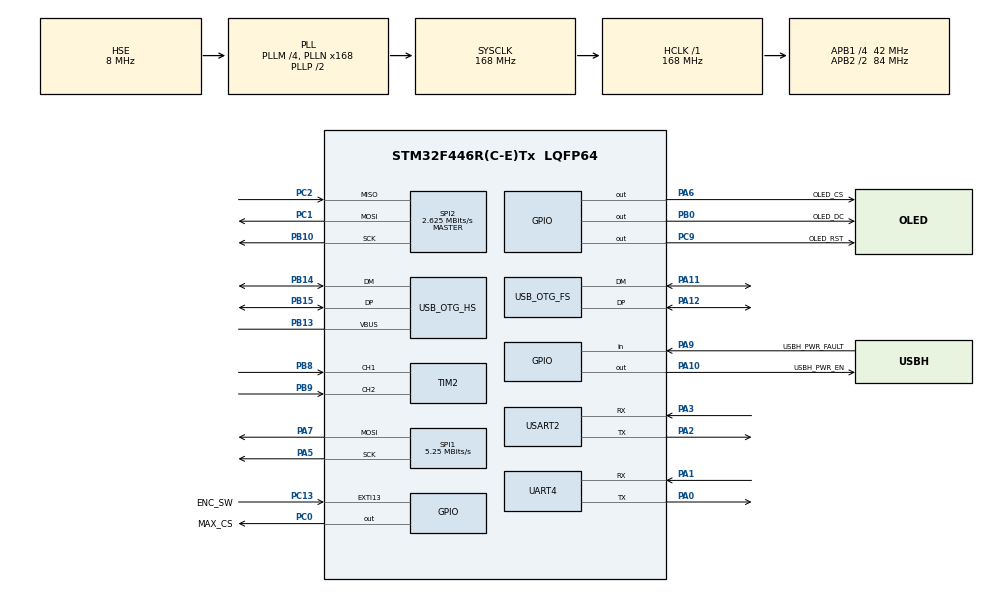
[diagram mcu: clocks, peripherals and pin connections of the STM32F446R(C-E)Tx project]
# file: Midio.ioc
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Mcu.Family=STM32F4
Dma.SPI2_TX.2.PeriphInc=DMA_PINC_DISABLE
NVIC.OTG_HS_IRQn=true\:5\:0\:false\:false\:true\:false\:false\:true
Dma.SPI2_TX.2.MemInc=DMA_MINC_ENABLE
Dma.SPI1_TX.0.MemInc=DMA_MINC_ENABLE
PH0-OSC_IN.Signal=RCC_OSC_IN
Dma.SPI1_TX.0.PeriphInc=DMA_PINC_DISABLE
Dma.SPI2_RX.1.MemDataAlignment=DMA_MDATAALIGN_BYTE
RCC.CortexFreq_Value=168000000
SPI1.VirtualType=VM_MASTER
SPI2.VirtualType=VM_MASTER
PB10.Mode=Full_Duplex_Master
PC0.GPIO_Label=MAX_CS
PA11.Mode=Host_Only
PA6.GPIO_Label=OLED_CS
PB0.GPIO_Label=OLED_DC
TIM2.EncoderMode=TIM_ENCODERMODE_TI12
PC13.GPIO_Label=ENC_SW
Dma.SPI2_RX.1.Mode=DMA_NORMAL
NVIC.DMA1_Stream4_IRQn=true\:5\:0\:false\:false\:true\:true\:false\:true
PB13.Signal=USB_OTG_HS_VBUS
PB15.Signal=USB_OTG_HS_DP
Dma.SPI2_RX.1.Direction=DMA_PERIPH_TO_MEMORY
RCC.SYSCLKSource=RCC_SYSCLKSOURCE_PLLCLK
ProjectManager.StackSize=0x400
Dma.SPI2_RX.1.PeriphDataAlignment=DMA_PDATAALIGN_BYTE
PA12.Signal=USB_OTG_FS_DP
SPI1.Direction=SPI_DIRECTION_2LINES
RCC.HCLKFreq_Value=168000000
RCC.APB2TimFreq_Value=168000000
USB_HOST.USBH_USE_OS-AUDIO_FS=0
Dma.SPI2_TX.2.PeriphDataAlignment=DMA_PDATAALIGN_BYTE
SPI1.CalculateBaudRate=5.25 MBits/s
FREERTOS.configUSE_MALLOC_FAILED_HOOK=1
Dma.SPI2_TX.2.Instance=DMA1_Stream4
RCC.AHBFreq_Value=168000000
SPI2.BaudRatePrescaler=SPI_BAUDRATEPRESCALER_16
PH0-OSC_IN.Mode=HSE-External-Oscillator
FREERTOS.configUSE_PREEMPTION=0
RCC.HSE_VALUE=8000000
USB_OTG_FS.phy_itface=HCD_PHY_EMBEDDED
PB3.Mode=Trace_Asynchronous_SW
Dma.SPI2_RX.1.FIFOMode=DMA_FIFOMODE_DISABLE
PA14.Mode=Trace_Asynchronous_SW
PB14.Mode=Device_Only_FS
PA10.GPIO_Label=USBH_PWR_EN
SPI2.CalculateBaudRate=2.625 MBits/s
VP_FREERTOS_VS_CMSIS_V1.Mode=CMSIS_V1
Dma.SPI2_TX.2.MemDataAlignment=DMA_MDATAALIGN_BYTE
PH1-OSC_OUT.Mode=HSE-External-Oscillator
Dma.SPI1_TX.0.Mode=DMA_NORMAL
Mcu.Package=LQFP64
PB9.Signal=S_TIM2_CH2
PA6.Signal=GPIO_Output
SPI2.Mode=SPI_MODE_MASTER
Dma.SPI2_TX.2.Priority=DMA_PRIORITY_LOW
USART2.VirtualMode=VM_ASYNC
NVIC.OTG_FS_IRQn=true\:5\:0\:false\:false\:true\:false\:false\:true
VP_USB_HOST_VS_USB_HOST_AUDIO_FS.Mode=AUDIO_FS
Dma.SPI2_TX.2.Mode=DMA_NORMAL
PA10.Signal=GPIO_Output
USB_OTG_FS.VirtualMode=Host_Only
USB_DEVICE.CLASS_NAME_HS=AUDIO
USB_DEVICE.VirtualMode-AUDIO_HS=Audio
Dma.SPI2_RX.1.Instance=DMA1_Stream3
USB_DEVICE.VirtualModeHS=Audio_HS
RCC.APB2CLKDivider=RCC_HCLK_DIV2
Dma.Request2=SPI2_TX
Dma.Request1=SPI2_RX
RCC.APB1TimFreq_Value=84000000
SPI2.Direction=SPI_DIRECTION_2LINES
PB13.Mode=Activate_VBUS_FS
Dma.Request0=SPI1_TX
SPI1.BaudRatePrescaler=SPI_BAUDRATEPRESCALER_16
PA3.Signal=USART2_RX
PA5.Mode=TX_Only_Simplex_Unidirect_Master
FREERTOS.Tasks01=defaultTask,0,128,StartDefaultTask,Default,NULL,Dynamic,NULL,NULL
PA7.Mode=TX_Only_Simplex_Unidirect_Master
PC9.GPIO_Label=OLED_RST
PC13.Signal=GPXTI13
PA9.GPIO_Label=USBH_PWR_FAULT
FREERTOS.INCLUDE_vTaskDelayUntil=1
FREERTOS.configCHECK_FOR_STACK_OVERFLOW=2
PC2.Signal=SPI2_MISO
PC2.Mode=Full_Duplex_Master
PC0.Signal=GPIO_Output
RCC.APB1CLKDivider=RCC_HCLK_DIV4
UART4.VirtualMode=Asynchronous
USB_OTG_HS.VirtualMode-Device_Only_FS=Device_Only_FS
PA0-WKUP.Signal=UART4_TX
PA0-WKUP.Mode=Asynchronous
PA13.Signal=SYS_JTMS-SWDIO
PA3.Mode=Asynchronous
SH.S_TIM2_CH2.0=TIM2_CH2,Encoder_Interface
Dma.SPI1_TX.0.FIFOMode=DMA_FIFOMODE_DISABLE
ProjectManager.TargetToolchain=Other Toolchains (GPDSC)
Dma.SPI2_TX.2.Direction=DMA_MEMORY_TO_PERIPH
Dma.SPI1_TX.0.PeriphDataAlignment=DMA_PDATAALIGN_BYTE
Dma.SPI1_TX.0.Direction=DMA_MEMORY_TO_PERIPH
Dma.SPI2_TX.2.FIFOMode=DMA_FIFOMODE_DISABLE
PA9.Signal=GPIO_Input
VP_USB_DEVICE_VS_USB_DEVICE_AUDIO_HS.Mode=AUDIO_HS
RCC.USBFreq_Value=48000000
NVIC.DMA2_Stream3_IRQn=true\:5\:0\:false\:false\:true\:true\:false\:true
PA1.Signal=UART4_RX
PB10.Signal=SPI2_SCK
PB14.Signal=USB_OTG_HS_DM
PA5.Signal=SPI1_SCK
board=custom
RCC.VCOOutputFreq_Value=336000000
USB_HOST.VirtualModeFS=Audio
PB15.Mode=Device_Only_FS
RCC.APB2Freq_Value=84000000
PA1.Mode=Asynchronous
Dma.SPI2_RX.1.Priority=DMA_PRIORITY_LOW
SPI1.Mode=SPI_MODE_MASTER
USB_HOST.USBH_HandleTypeDef-AUDIO_FS=hUsbHostFS
PH1-OSC_OUT.Signal=RCC_OSC_OUT
Dma.SPI1_TX.0.Instance=DMA2_Stream3
FREERTOS.configUSE_MUTEXES=0
PA13.Mode=Trace_Asynchronous_SW
Mcu.Name=STM32F446R(C-E)Tx
Dma.SPI2_RX.1.PeriphInc=DMA_PINC_DISABLE
USB_DEVICE.USBD_LPM_ENABLED-AUDIO_HS=0
PA2.Signal=USART2_TX
PB3.Signal=SYS_JTDO-SWO
RCC.SYSCLKFreq_VALUE=168000000
PA12.Mode=Host_Only
PA11.Signal=USB_OTG_FS_DM
SH.S_TIM2_CH1_ETR.0=TIM2_CH1,Encoder_Interface
PA14.Signal=SYS_JTCK-SWCLK
ProjectManager.HeapSize=0x200
Dma.SPI1_TX.0.MemDataAlignment=DMA_MDATAALIGN_BYTE
Dma.SPI1_TX.0.Priority=DMA_PRIORITY_LOW
RCC.PLLQ=7
NVIC.PriorityGroup=NVIC_PRIORITYGROUP_4
RCC.PLLM=4
RCC.PLLN=168
PA2.Mode=Asynchronous
PB8.Signal=S_TIM2_CH1_ETR
NVIC.DMA1_Stream3_IRQn=true\:5\:0\:false\:false\:true\:true\:false\:true
PC9.Signal=GPIO_Output
RCC.APB1Freq_Value=42000000
PB0.Signal=GPIO_Output
Dma.SPI2_RX.1.MemInc=DMA_MINC_ENABLE
PC1.Signal=SPI2_MOSI
PC1.Mode=Full_Duplex_Master
PA7.Signal=SPI1_MOSI

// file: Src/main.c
/* USER CODE BEGIN Header */
/**
  ******************************************************************************
  * @file           : main.c
  * @brief          : Main program body
  ******************************************************************************
  * @attention
  *
  * <h2><center>&copy; Copyright (c) 2021 STMicroelectronics.
  * All rights reserved.</center></h2>
  *
  * This software component is licensed by ST under BSD 3-Clause license,
  * the "License"; You may not use this file except in compliance with the
  * License. You may obtain a copy of the License at:
  *                        opensource.org/licenses/BSD-3-Clause
  *
  ******************************************************************************
  */
/* USER CODE END Header */
#include "main.h"
#include "cmsis_os.h"
#include "usb_device.h"
#include "usb_host.h"

/* USER CODE BEGIN Includes */

#include "errorhandlers.h"

/* USER CODE END Includes */

SPI_HandleTypeDef hspi1;
SPI_HandleTypeDef hspi2;
DMA_HandleTypeDef hdma_spi1_tx;
DMA_HandleTypeDef hdma_spi2_rx;
DMA_HandleTypeDef hdma_spi2_tx;

TIM_HandleTypeDef htim2;

UART_HandleTypeDef huart4;
UART_HandleTypeDef huart2;

osThreadId defaultTaskHandle;

void SystemClock_Config(void);
static void MX_GPIO_Init(void);
static void MX_DMA_Init(void);
static void MX_SPI1_Init(void);
static void MX_SPI2_Init(void);
static void MX_TIM2_Init(void);
static void MX_UART4_Init(void);
static void MX_USART2_UART_Init(void);
void StartDefaultTask(void const * argument);

/* USER CODE BEGIN PFP */

void setup(void);
void loop(void);

/* USER CODE END PFP */

int main(void)
{

  /* MCU Configuration--------------------------------------------------------*/

  /* Reset of all peripherals, Initializes the Flash interface and the Systick. */
  HAL_Init();

  /* Configure the system clock */
  SystemClock_Config();

  /* Initialize all configured peripherals */
  MX_GPIO_Init();
  MX_DMA_Init();
  MX_SPI1_Init();
  MX_SPI2_Init();
  MX_TIM2_Init();
  MX_UART4_Init();
  MX_USART2_UART_Init();

  /* Create the thread(s) */
  /* definition and creation of defaultTask */
  osThreadDef(defaultTask, StartDefaultTask, osPriorityNormal, 0, 128);
  defaultTaskHandle = osThreadCreate(osThread(defaultTask), NULL);

  /* Start scheduler */
  osKernelStart();

  /* We should never get here as control is now taken by the scheduler */
  /* Infinite loop */
  while (1)
  {

  }
}

void SystemClock_Config(void)
{
  RCC_OscInitTypeDef RCC_OscInitStruct = {0};
  RCC_ClkInitTypeDef RCC_ClkInitStruct = {0};
  RCC_PeriphCLKInitTypeDef PeriphClkInitStruct = {0};

  /** Configure the main internal regulator output voltage
  */
  __HAL_RCC_PWR_CLK_ENABLE();
  __HAL_PWR_VOLTAGESCALING_CONFIG(PWR_REGULATOR_VOLTAGE_SCALE1);
  /** Initializes the RCC Oscillators according to the specified parameters
  * in the RCC_OscInitTypeDef structure.
  */
  RCC_OscInitStruct.OscillatorType = RCC_OSCILLATORTYPE_HSE;
  RCC_OscInitStruct.HSEState = RCC_HSE_ON;
  RCC_OscInitStruct.PLL.PLLState = RCC_PLL_ON;
  RCC_OscInitStruct.PLL.PLLSource = RCC_PLLSOURCE_HSE;
  RCC_OscInitStruct.PLL.PLLM = 4;
  RCC_OscInitStruct.PLL.PLLN = 168;
  RCC_OscInitStruct.PLL.PLLP = RCC_PLLP_DIV2;
  RCC_OscInitStruct.PLL.PLLQ = 7;
  RCC_OscInitStruct.PLL.PLLR = 2;
  if (HAL_RCC_OscConfig(&RCC_OscInitStruct) != HAL_OK)
  {
    Error_Handler();
  }
  /** Initializes the CPU, AHB and APB buses clocks
  */
  RCC_ClkInitStruct.ClockType = RCC_CLOCKTYPE_HCLK|RCC_CLOCKTYPE_SYSCLK
                              |RCC_CLOCKTYPE_PCLK1|RCC_CLOCKTYPE_PCLK2;
  RCC_ClkInitStruct.SYSCLKSource = RCC_SYSCLKSOURCE_PLLCLK;
  RCC_ClkInitStruct.AHBCLKDivider = RCC_SYSCLK_DIV1;
  RCC_ClkInitStruct.APB1CLKDivider = RCC_HCLK_DIV4;
  RCC_ClkInitStruct.APB2CLKDivider = RCC_HCLK_DIV2;

  if (HAL_RCC_ClockConfig(&RCC_ClkInitStruct, FLASH_LATENCY_5) != HAL_OK)
  {
    Error_Handler();
  }
  PeriphClkInitStruct.PeriphClockSelection = RCC_PERIPHCLK_CLK48;
  PeriphClkInitStruct.Clk48ClockSelection = RCC_CLK48CLKSOURCE_PLLQ;
  if (HAL_RCCEx_PeriphCLKConfig(&PeriphClkInitStruct) != HAL_OK)
  {
    Error_Handler();
  }
}

static void MX_SPI1_Init(void)
{

  /* SPI1 parameter configuration*/
  hspi1.Instance = SPI1;
  hspi1.Init.Mode = SPI_MODE_MASTER;
  hspi1.Init.Direction = SPI_DIRECTION_2LINES;
  hspi1.Init.DataSize = SPI_DATASIZE_8BIT;
  hspi1.Init.CLKPolarity = SPI_POLARITY_LOW;
  hspi1.Init.CLKPhase = SPI_PHASE_1EDGE;
  hspi1.Init.NSS = SPI_NSS_SOFT;
  hspi1.Init.BaudRatePrescaler = SPI_BAUDRATEPRESCALER_16;
  hspi1.Init.FirstBit = SPI_FIRSTBIT_MSB;
  hspi1.Init.TIMode = SPI_TIMODE_DISABLE;
  hspi1.Init.CRCCalculation = SPI_CRCCALCULATION_DISABLE;
  hspi1.Init.CRCPolynomial = 10;
  if (HAL_SPI_Init(&hspi1) != HAL_OK)
  {
    Error_Handler();
  }

}

static void MX_SPI2_Init(void)
{

  /* SPI2 parameter configuration*/
  hspi2.Instance = SPI2;
  hspi2.Init.Mode = SPI_MODE_MASTER;
  hspi2.Init.Direction = SPI_DIRECTION_2LINES;
  hspi2.Init.DataSize = SPI_DATASIZE_8BIT;
  hspi2.Init.CLKPolarity = SPI_POLARITY_LOW;
  hspi2.Init.CLKPhase = SPI_PHASE_1EDGE;
  hspi2.Init.NSS = SPI_NSS_SOFT;
  hspi2.Init.BaudRatePrescaler = SPI_BAUDRATEPRESCALER_16;
  hspi2.Init.FirstBit = SPI_FIRSTBIT_MSB;
  hspi2.Init.TIMode = SPI_TIMODE_DISABLE;
  hspi2.Init.CRCCalculation = SPI_CRCCALCULATION_DISABLE;
  hspi2.Init.CRCPolynomial = 10;
  if (HAL_SPI_Init(&hspi2) != HAL_OK)
  {
    Error_Handler();
  }

}

static void MX_TIM2_Init(void)
{

  TIM_Encoder_InitTypeDef sConfig = {0};
  TIM_MasterConfigTypeDef sMasterConfig = {0};

  htim2.Instance = TIM2;
  htim2.Init.Prescaler = 0;
  htim2.Init.CounterMode = TIM_COUNTERMODE_UP;
  htim2.Init.Period = 4294967295;
  htim2.Init.ClockDivision = TIM_CLOCKDIVISION_DIV1;
  htim2.Init.AutoReloadPreload = TIM_AUTORELOAD_PRELOAD_DISABLE;
  sConfig.EncoderMode = TIM_ENCODERMODE_TI12;
  sConfig.IC1Polarity = TIM_ICPOLARITY_RISING;
  sConfig.IC1Selection = TIM_ICSELECTION_DIRECTTI;
  sConfig.IC1Prescaler = TIM_ICPSC_DIV1;
  sConfig.IC1Filter = 0;
  sConfig.IC2Polarity = TIM_ICPOLARITY_RISING;
  sConfig.IC2Selection = TIM_ICSELECTION_DIRECTTI;
  sConfig.IC2Prescaler = TIM_ICPSC_DIV1;
  sConfig.IC2Filter = 0;
  if (HAL_TIM_Encoder_Init(&htim2, &sConfig) != HAL_OK)
  {
    Error_Handler();
  }
  sMasterConfig.MasterOutputTrigger = TIM_TRGO_RESET;
  sMasterConfig.MasterSlaveMode = TIM_MASTERSLAVEMODE_DISABLE;
  if (HAL_TIMEx_MasterConfigSynchronization(&htim2, &sMasterConfig) != HAL_OK)
  {
    Error_Handler();
  }

}

static void MX_UART4_Init(void)
{

  huart4.Instance = UART4;
  huart4.Init.BaudRate = 115200;
  huart4.Init.WordLength = UART_WORDLENGTH_8B;
  huart4.Init.StopBits = UART_STOPBITS_1;
  huart4.Init.Parity = UART_PARITY_NONE;
  huart4.Init.Mode = UART_MODE_TX_RX;
  huart4.Init.HwFlowCtl = UART_HWCONTROL_NONE;
  huart4.Init.OverSampling = UART_OVERSAMPLING_16;
  if (HAL_UART_Init(&huart4) != HAL_OK)
  {
    Error_Handler();
  }

}

static void MX_USART2_UART_Init(void)
{

  huart2.Instance = USART2;
  huart2.Init.BaudRate = 115200;
  huart2.Init.WordLength = UART_WORDLENGTH_8B;
  huart2.Init.StopBits = UART_STOPBITS_1;
  huart2.Init.Parity = UART_PARITY_NONE;
  huart2.Init.Mode = UART_MODE_TX_RX;
  huart2.Init.HwFlowCtl = UART_HWCONTROL_NONE;
  huart2.Init.OverSampling = UART_OVERSAMPLING_16;
  if (HAL_UART_Init(&huart2) != HAL_OK)
  {
    Error_Handler();
  }

}

static void MX_DMA_Init(void)
{

  /* DMA controller clock enable */
  __HAL_RCC_DMA2_CLK_ENABLE();
  __HAL_RCC_DMA1_CLK_ENABLE();

  /* DMA interrupt init */
  /* DMA1_Stream3_IRQn interrupt configuration */
  HAL_NVIC_SetPriority(DMA1_Stream3_IRQn, 5, 0);
  HAL_NVIC_EnableIRQ(DMA1_Stream3_IRQn);
  /* DMA1_Stream4_IRQn interrupt configuration */
  HAL_NVIC_SetPriority(DMA1_Stream4_IRQn, 5, 0);
  HAL_NVIC_EnableIRQ(DMA1_Stream4_IRQn);
  /* DMA2_Stream3_IRQn interrupt configuration */
  HAL_NVIC_SetPriority(DMA2_Stream3_IRQn, 5, 0);
  HAL_NVIC_EnableIRQ(DMA2_Stream3_IRQn);

}

static void MX_GPIO_Init(void)
{
  GPIO_InitTypeDef GPIO_InitStruct = {0};

  /* GPIO Ports Clock Enable */
  __HAL_RCC_GPIOC_CLK_ENABLE();
  __HAL_RCC_GPIOH_CLK_ENABLE();
  __HAL_RCC_GPIOA_CLK_ENABLE();
  __HAL_RCC_GPIOB_CLK_ENABLE();
  __HAL_RCC_GPIOD_CLK_ENABLE();

  /*Configure GPIO pin Output Level */
  HAL_GPIO_WritePin(GPIOC, MAX_CS_Pin|OLED_RST_Pin, GPIO_PIN_RESET);

  /*Configure GPIO pin Output Level */
  HAL_GPIO_WritePin(GPIOA, OLED_CS_Pin|USBH_PWR_EN_Pin, GPIO_PIN_RESET);

  /*Configure GPIO pin Output Level */
  HAL_GPIO_WritePin(OLED_DC_GPIO_Port, OLED_DC_Pin, GPIO_PIN_RESET);

  /*Configure GPIO pin : ENC_SW_Pin */
  GPIO_InitStruct.Pin = ENC_SW_Pin;
  GPIO_InitStruct.Mode = GPIO_MODE_IT_RISING;
  GPIO_InitStruct.Pull = GPIO_NOPULL;
  HAL_GPIO_Init(ENC_SW_GPIO_Port, &GPIO_InitStruct);

  /*Configure GPIO pins : PC14 PC15 PC3 PC4
                           PC5 PC6 PC7 PC8
                           PC10 PC11 PC12 */
  GPIO_InitStruct.Pin = GPIO_PIN_14|GPIO_PIN_15|GPIO_PIN_3|GPIO_PIN_4
                          |GPIO_PIN_5|GPIO_PIN_6|GPIO_PIN_7|GPIO_PIN_8
                          |GPIO_PIN_10|GPIO_PIN_11|GPIO_PIN_12;
  GPIO_InitStruct.Mode = GPIO_MODE_ANALOG;
  GPIO_InitStruct.Pull = GPIO_NOPULL;
  HAL_GPIO_Init(GPIOC, &GPIO_InitStruct);

  /*Configure GPIO pins : MAX_CS_Pin OLED_RST_Pin */
  GPIO_InitStruct.Pin = MAX_CS_Pin|OLED_RST_Pin;
  GPIO_InitStruct.Mode = GPIO_MODE_OUTPUT_PP;
  GPIO_InitStruct.Pull = GPIO_NOPULL;
  GPIO_InitStruct.Speed = GPIO_SPEED_FREQ_LOW;
  HAL_GPIO_Init(GPIOC, &GPIO_InitStruct);

  /*Configure GPIO pins : PA4 PA8 PA15 */
  GPIO_InitStruct.Pin = GPIO_PIN_4|GPIO_PIN_8|GPIO_PIN_15;
  GPIO_InitStruct.Mode = GPIO_MODE_ANALOG;
  GPIO_InitStruct.Pull = GPIO_NOPULL;
  HAL_GPIO_Init(GPIOA, &GPIO_InitStruct);

  /*Configure GPIO pins : OLED_CS_Pin USBH_PWR_EN_Pin */
  GPIO_InitStruct.Pin = OLED_CS_Pin|USBH_PWR_EN_Pin;
  GPIO_InitStruct.Mode = GPIO_MODE_OUTPUT_PP;
  GPIO_InitStruct.Pull = GPIO_NOPULL;
  GPIO_InitStruct.Speed = GPIO_SPEED_FREQ_LOW;
  HAL_GPIO_Init(GPIOA, &GPIO_InitStruct);

  /*Configure GPIO pin : OLED_DC_Pin */
  GPIO_InitStruct.Pin = OLED_DC_Pin;
  GPIO_InitStruct.Mode = GPIO_MODE_OUTPUT_PP;
  GPIO_InitStruct.Pull = GPIO_NOPULL;
  GPIO_InitStruct.Speed = GPIO_SPEED_FREQ_LOW;
  HAL_GPIO_Init(OLED_DC_GPIO_Port, &GPIO_InitStruct);

  /*Configure GPIO pins : PB1 PB2 PB12 PB4
                           PB5 PB6 PB7 */
  GPIO_InitStruct.Pin = GPIO_PIN_1|GPIO_PIN_2|GPIO_PIN_12|GPIO_PIN_4
                          |GPIO_PIN_5|GPIO_PIN_6|GPIO_PIN_7;
  GPIO_InitStruct.Mode = GPIO_MODE_ANALOG;
  GPIO_InitStruct.Pull = GPIO_NOPULL;
  HAL_GPIO_Init(GPIOB, &GPIO_InitStruct);

  /*Configure GPIO pin : USBH_PWR_FAULT_Pin */
  GPIO_InitStruct.Pin = USBH_PWR_FAULT_Pin;
  GPIO_InitStruct.Mode = GPIO_MODE_INPUT;
  GPIO_InitStruct.Pull = GPIO_NOPULL;
  HAL_GPIO_Init(USBH_PWR_FAULT_GPIO_Port, &GPIO_InitStruct);

  /*Configure GPIO pin : PD2 */
  GPIO_InitStruct.Pin = GPIO_PIN_2;
  GPIO_InitStruct.Mode = GPIO_MODE_ANALOG;
  GPIO_InitStruct.Pull = GPIO_NOPULL;
  HAL_GPIO_Init(GPIOD, &GPIO_InitStruct);

}

void StartDefaultTask(void const * argument)
{
  /* init code for USB_DEVICE */
  MX_USB_DEVICE_Init();

  /* init code for USB_HOST */
  MX_USB_HOST_Init();
  /* USER CODE BEGIN 5 */
  setup();

  /* Infinite loop */
  for(;;)
  {
    loop();
  }
  /* USER CODE END 5 */
}

void Error_Handler(void)
{
  /* USER CODE BEGIN Error_Handler_Debug */
  /* User can add his own implementation to report the HAL error return state */
#ifdef DEBUG
  __asm__("BKPT");
#else
  NVIC_SystemReset();
#endif
  /* USER CODE END Error_Handler_Debug */
}

#ifdef  USE_FULL_ASSERT
/**
  * @brief  Reports the name of the source file and the source line number
  *         where the assert_param error has occurred.
  * @param  file: pointer to the source file name
  * @param  line: assert_param error line source number
  * @retval None
  */
void assert_failed(uint8_t *file, uint32_t line)
{
  /* USER CODE BEGIN 6 */
  /* User can add his own implementation to report the file name and line number,
     tex: printf("Wrong parameters value: file %s on line %d\r\n", file, line) */
#ifdef DEBUG
  __asm__("BKPT");
#else
  NVIC_SystemReset();
#endif
  /* USER CODE END 6 */
}
#endif /* USE_FULL_ASSERT */

/************************ (C) COPYRIGHT STMicroelectronics *****END OF FILE****/

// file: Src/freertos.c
/* USER CODE BEGIN Header */
/**
  ******************************************************************************
  * File Name          : freertos.c
  * Description        : Code for freertos applications
  ******************************************************************************
  * This notice applies to any and all portions of this file
  * that are not between comment pairs USER CODE BEGIN and
  * USER CODE END. Other portions of this file, whether
  * inserted by the user or by software development tools
  * are owned by their respective copyright owners.
  *
  * Copyright (c) 2018 STMicroelectronics International N.V.
  * All rights reserved.
  *
  * Redistribution and use in source and binary forms, with or without
  * modification, are permitted, provided that the following conditions are met:
  *
  * 1. Redistribution of source code must retain the above copyright notice,
  *    this list of conditions and the following disclaimer.
  * 2. Redistributions in binary form must reproduce the above copyright notice,
  *    this list of conditions and the following disclaimer in the documentation
  *    and/or other materials provided with the distribution.
  * 3. Neither the name of STMicroelectronics nor the names of other
  *    contributors to this software may be used to endorse or promote products
  *    derived from this software without specific written permission.
  * 4. This software, including modifications and/or derivative works of this
  *    software, must execute solely and exclusively on microcontroller or
  *    microprocessor devices manufactured by or for STMicroelectronics.
  * 5. Redistribution and use of this software other than as permitted under
  *    this license is void and will automatically terminate your rights under
  *    this license.
  *
  * THIS SOFTWARE IS PROVIDED BY STMICROELECTRONICS AND CONTRIBUTORS "AS IS"
  * AND ANY EXPRESS, IMPLIED OR STATUTORY WARRANTIES, INCLUDING, BUT NOT
  * LIMITED TO, THE IMPLIED WARRANTIES OF MERCHANTABILITY, FITNESS FOR A
  * PARTICULAR PURPOSE AND NON-INFRINGEMENT OF THIRD PARTY INTELLECTUAL PROPERTY
  * RIGHTS ARE DISCLAIMED TO THE FULLEST EXTENT PERMITTED BY LAW. IN NO EVENT
  * SHALL STMICROELECTRONICS OR CONTRIBUTORS BE LIABLE FOR ANY DIRECT, INDIRECT,
  * INCIDENTAL, SPECIAL, EXEMPLARY, OR CONSEQUENTIAL DAMAGES (INCLUDING, BUT NOT
  * LIMITED TO, PROCUREMENT OF SUBSTITUTE GOODS OR SERVICES; LOSS OF USE, DATA,
  * OR PROFITS; OR BUSINESS INTERRUPTION) HOWEVER CAUSED AND ON ANY THEORY OF
  * LIABILITY, WHETHER IN CONTRACT, STRICT LIABILITY, OR TORT (INCLUDING
  * NEGLIGENCE OR OTHERWISE) ARISING IN ANY WAY OUT OF THE USE OF THIS SOFTWARE,
  * EVEN IF ADVISED OF THE POSSIBILITY OF SUCH DAMAGE.
  *
  ******************************************************************************
  */
/* USER CODE END Header */

#include "FreeRTOS.h"
#include "task.h"
#include "main.h"

/* GetIdleTaskMemory prototype (linked to static allocation support) */
void vApplicationGetIdleTaskMemory( StaticTask_t **ppxIdleTaskTCBBuffer, StackType_t **ppxIdleTaskStackBuffer, uint32_t *pulIdleTaskStackSize );

/* Hook prototypes */
void vApplicationStackOverflowHook(xTaskHandle xTask, signed char *pcTaskName);
void vApplicationMallocFailedHook(void);

/* USER CODE BEGIN 4 */
__weak void vApplicationStackOverflowHook(TaskHandle_t xTask, signed char *pcTaskName)
{
   /* Run time stack overflow checking is performed if
   configCHECK_FOR_STACK_OVERFLOW is defined to 1 or 2. This hook function is
   called if a stack overflow is detected. */
}
/* USER CODE END 4 */

/* USER CODE BEGIN 5 */
__weak void vApplicationMallocFailedHook(void)
{
   /* vApplicationMallocFailedHook() will only be called if
   configUSE_MALLOC_FAILED_HOOK is set to 1 in FreeRTOSConfig.h. It is a hook
   function that will get called if a call to pvPortMalloc() fails.
   pvPortMalloc() is called internally by the kernel whenever a task, queue,
   timer or semaphore is created. It is also called by various parts of the
   demo application. If heap_1.c or heap_2.c are used, then the size of the
   heap available to pvPortMalloc() is defined by configTOTAL_HEAP_SIZE in
   FreeRTOSConfig.h, and the xPortGetFreeHeapSize() API function can be used
   to query the size of free heap space that remains (although it does not
   provide information on how the remaining heap might be fragmented). */
}
/* USER CODE END 5 */

/* USER CODE BEGIN GET_IDLE_TASK_MEMORY */
static StaticTask_t xIdleTaskTCBBuffer;
static StackType_t xIdleStack[configMINIMAL_STACK_SIZE];

void vApplicationGetIdleTaskMemory( StaticTask_t **ppxIdleTaskTCBBuffer, StackType_t **ppxIdleTaskStackBuffer, uint32_t *pulIdleTaskStackSize )
{
  *ppxIdleTaskTCBBuffer = &xIdleTaskTCBBuffer;
  *ppxIdleTaskStackBuffer = &xIdleStack[0];
  *pulIdleTaskStackSize = configMINIMAL_STACK_SIZE;
  /* place for user code */
}
/* USER CODE END GET_IDLE_TASK_MEMORY */

/************************ (C) COPYRIGHT STMicroelectronics *****END OF FILE****/
